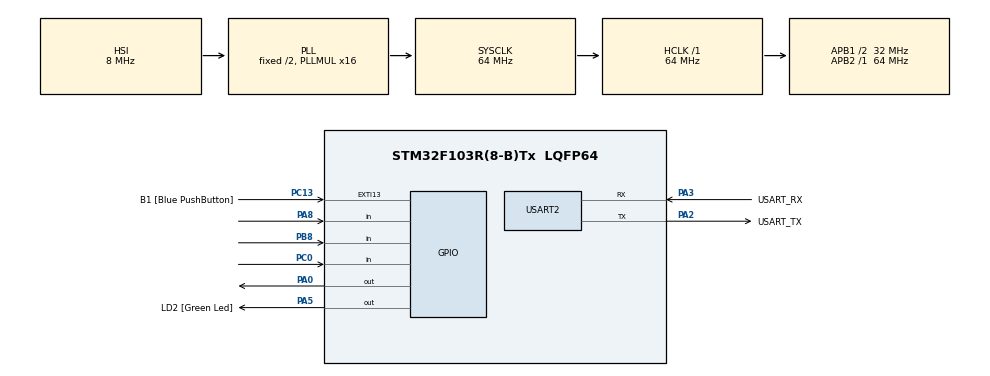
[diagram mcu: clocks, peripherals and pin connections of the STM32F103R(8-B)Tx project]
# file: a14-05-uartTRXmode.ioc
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Mcu.Family=STM32F1
Mcu.Name=STM32F103R(8-B)Tx
Mcu.Package=LQFP64
NVIC.EXTI15_10_IRQn=true\:0\:0\:false\:false\:true\:true\:true
NVIC.PriorityGroup=NVIC_PRIORITYGROUP_4
NVIC.TIM2_IRQn=true\:0\:0\:false\:false\:true\:true\:true
NVIC.TIM3_IRQn=true\:0\:0\:false\:false\:true\:true\:true
PA0-WKUP.Signal=GPIO_Output
PA13.GPIO_Label=TMS
PA13.Mode=Serial_Wire
PA13.Signal=SYS_JTMS-SWDIO
PA14.GPIO_Label=TCK
PA14.Mode=Serial_Wire
PA14.Signal=SYS_JTCK-SWCLK
PA2.GPIO_Label=USART_TX
PA2.GPIO_Mode=GPIO_MODE_AF_PP
PA2.GPIO_PuPd=GPIO_NOPULL
PA2.GPIO_Speed=GPIO_SPEED_FREQ_LOW
PA2.Mode=Asynchronous
PA2.Signal=USART2_TX
PA3.GPIO_Label=USART_RX
PA3.GPIO_Mode=GPIO_MODE_AF_PP
PA3.GPIO_PuPd=GPIO_NOPULL
PA3.GPIO_Speed=GPIO_SPEED_FREQ_LOW
PA3.Mode=Asynchronous
PA3.Signal=USART2_RX
PA5.GPIO_Label=LD2 [Green Led]
PA5.GPIO_ModeDefaultOutputPP=GPIO_MODE_OUTPUT_PP
PA5.GPIO_PuPd=GPIO_NOPULL
PA5.GPIO_Speed=GPIO_SPEED_FREQ_LOW
PA5.Signal=GPIO_Output
PA8.Signal=GPIO_Input
PB3.GPIO_Label=SWO
PB3.Signal=SYS_JTDO-TRACESWO
PB8.Signal=GPIO_Input
PC0.Signal=GPIO_Input
PC13-TAMPER-RTC.GPIO_Label=B1 [Blue PushButton]
PC13-TAMPER-RTC.GPIO_PuPd=GPIO_NOPULL
PC13-TAMPER-RTC.Signal=GPXTI13
PC14-OSC32_IN.Mode=LSE-External-Oscillator
PC14-OSC32_IN.Signal=RCC_OSC32_IN
PC15-OSC32_OUT.Mode=LSE-External-Oscillator
PC15-OSC32_OUT.Signal=RCC_OSC32_OUT
PD0-OSC_IN.Mode=HSE-External-Clock-Source
PD0-OSC_IN.Signal=RCC_OSC_IN
PD1-OSC_OUT.Mode=HSE-External-Clock-Source
PD1-OSC_OUT.Signal=RCC_OSC_OUT
ProjectManager.HeapSize=0x200
ProjectManager.StackSize=0x400
ProjectManager.TargetToolchain=STM32CubeIDE
RCC.AHBFreq_Value=64000000
RCC.APB1CLKDivider=RCC_HCLK_DIV2
RCC.APB1Freq_Value=32000000
RCC.APB1TimFreq_Value=64000000
RCC.APB2Freq_Value=64000000
RCC.APB2TimFreq_Value=64000000
RCC.HCLKFreq_Value=64000000
RCC.PLLMUL=RCC_PLL_MUL16
RCC.RTCClockSelection=RCC_RTCCLKSOURCE_LSE
RCC.SYSCLKFreq_VALUE=64000000
RCC.SYSCLKSource=RCC_SYSCLKSOURCE_PLLCLK
RCC.USBFreq_Value=64000000
TIM2.Period=103
TIM2.Prescaler=63
TIM3.Period=25
TIM3.Prescaler=63
USART2.VirtualMode=VM_ASYNC
VP_TIM2_VS_ClockSourceINT.Mode=Internal
VP_TIM3_VS_ClockSourceINT.Mode=Internal
board=NUCLEO-F103RB

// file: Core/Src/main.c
/* USER CODE BEGIN Header */
/**
  ******************************************************************************
  * @file           : main.c
  * @brief          : Main program body
  ******************************************************************************
  * @attention
  *
  * <h2><center>&copy; Copyright (c) 2022 STMicroelectronics.
  * All rights reserved.</center></h2>
  *
  * This software component is licensed by ST under BSD 3-Clause license,
  * the "License"; You may not use this file except in compliance with the
  * License. You may obtain a copy of the License at:
  *                        opensource.org/licenses/BSD-3-Clause
  *
  ******************************************************************************
  */
/* USER CODE END Header */

#include "main.h"

/* USER CODE BEGIN Includes */
#include "stdio.h"
/* USER CODE END Includes */

/* USER CODE BEGIN PD */

//RX
#ifdef __GNUC__
  /* With GCC/RAISONANCE, small printf (option LD Linker->Libraries->Small printf
     set to 'Yes') calls __io_putchar() */
  #define PUTCHAR_PROTOTYPE int __io_putchar(int ch)
#else
  #define PUTCHAR_PROTOTYPE int fputc(int ch, FILE *f)
#endif /* __GNUC__ */

typedef struct ts_rxType{
	char start;
	unsigned char data;
	char parity;
	char stop;
	char error;
} rxType;
/* USER CODE END PD */

TIM_HandleTypeDef htim2;
TIM_HandleTypeDef htim3;

UART_HandleTypeDef huart2;

/* USER CODE BEGIN PV */

//TX
char Uart_Tx_Parity_Mode;
int tim2_cnt;
char tim2_flag;
char tim2_trigger;
char chUartTxData[32];

//RX
char Uart_Rx_Parity_Mode;
rxType rxData[32];
int rxByte_cnt;
int rxBit_cnt;
int rxBit_value;
int rxSamp_cnt;
int rxParity_bit;
char Uart_Rx_flag;
char Uart_Rx_active;
char Uart_Rx_Temp;
char Uart_Rx_trigger;
char Uart_Rx_data;
char Uart_Rx_parity;
char Uart_Rx_stop;

/* USER CODE END PV */

void SystemClock_Config(void);
static void MX_GPIO_Init(void);
static void MX_USART2_UART_Init(void);
static void MX_TIM2_Init(void);
static void MX_TIM3_Init(void);

/* USER CODE BEGIN 0 */

PUTCHAR_PROTOTYPE
{
  /* Place your implementation of fputc here */
  /* e.g. write a character to the EVAL_COM1 and Loop until the end of transmission */
  HAL_UART_Transmit(&huart2, (uint8_t *)&ch, 1, 0xFFFF);

  return ch;
}

//TX
void Uart_Tx_Byte(char TxData, char Parity)
{
	char chExit = 'n';
	char chComp = 0x01;
	int ParityBit_cnt = 0;

	tim2_cnt = 0;
	tim2_flag = 'y';
	tim2_trigger = 'n';

	while(1){
		if(('y' == tim2_trigger) && (tim2_cnt == 1)){ // idle
			tim2_trigger = 'n';
			HAL_GPIO_WritePin(GPIOA, GPIO_PIN_0, GPIO_PIN_SET);
		}else if(('y' == tim2_trigger) && (tim2_cnt == 2)){ // start
			tim2_trigger = 'n';
			HAL_GPIO_WritePin(GPIOA, GPIO_PIN_0, GPIO_PIN_RESET);
		}else if(('y' == tim2_trigger) && (tim2_cnt == 3)){ // bit 0
			tim2_trigger = 'n';
			if((TxData & chComp) == chComp){
				HAL_GPIO_WritePin(GPIOA, GPIO_PIN_0, GPIO_PIN_SET);
				ParityBit_cnt += 1;
			}else{
				HAL_GPIO_WritePin(GPIOA, GPIO_PIN_0, GPIO_PIN_RESET);
			}
			chComp <<= 1;
		}else if(('y' == tim2_trigger) && (tim2_cnt == 4)){ // bit 1
			tim2_trigger = 'n';
			if((TxData & chComp) == chComp){
				HAL_GPIO_WritePin(GPIOA, GPIO_PIN_0, GPIO_PIN_SET);
				ParityBit_cnt += 1;
			}else{
				HAL_GPIO_WritePin(GPIOA, GPIO_PIN_0, GPIO_PIN_RESET);
			}
			chComp <<= 1;
		}else if(('y' == tim2_trigger) && (tim2_cnt == 5)){ // bit 2
			tim2_trigger = 'n';
			if((TxData & chComp) == chComp){
				HAL_GPIO_WritePin(GPIOA, GPIO_PIN_0, GPIO_PIN_SET);
				ParityBit_cnt += 1;
			}else{
				HAL_GPIO_WritePin(GPIOA, GPIO_PIN_0, GPIO_PIN_RESET);
			}
			chComp <<= 1;
		}else if(('y' == tim2_trigger) && (tim2_cnt == 6)){ // bit 3
			tim2_trigger = 'n';
			if((TxData & chComp) == chComp){
				HAL_GPIO_WritePin(GPIOA, GPIO_PIN_0, GPIO_PIN_SET);
				ParityBit_cnt += 1;
			}else{
				HAL_GPIO_WritePin(GPIOA, GPIO_PIN_0, GPIO_PIN_RESET);
			}
			chComp <<= 1;
		}else if(('y' == tim2_trigger) && (tim2_cnt == 7)){ // bit 4
			tim2_trigger = 'n';
			if((TxData & chComp) == chComp){
				HAL_GPIO_WritePin(GPIOA, GPIO_PIN_0, GPIO_PIN_SET);
				ParityBit_cnt += 1;
			}else{
				HAL_GPIO_WritePin(GPIOA, GPIO_PIN_0, GPIO_PIN_RESET);
			}
			chComp <<= 1;
		}else if(('y' == tim2_trigger) && (tim2_cnt == 8)){ // bit 5
			tim2_trigger = 'n';
			if((TxData & chComp) == chComp){
				HAL_GPIO_WritePin(GPIOA, GPIO_PIN_0, GPIO_PIN_SET);
				ParityBit_cnt += 1;
			}else{
				HAL_GPIO_WritePin(GPIOA, GPIO_PIN_0, GPIO_PIN_RESET);
			}
			chComp <<= 1;
		}else if(('y' == tim2_trigger) && (tim2_cnt == 9)){ // bit 6
			tim2_trigger = 'n';
			if((TxData & chComp) == chComp){
				HAL_GPIO_WritePin(GPIOA, GPIO_PIN_0, GPIO_PIN_SET);
				ParityBit_cnt += 1;
			}else{
				HAL_GPIO_WritePin(GPIOA, GPIO_PIN_0, GPIO_PIN_RESET);
			}
			chComp <<= 1;
		}else if(('y' == tim2_trigger) && (tim2_cnt == 10)){ // bit 7
			tim2_trigger = 'n';
			if((TxData & chComp) == chComp){
				HAL_GPIO_WritePin(GPIOA, GPIO_PIN_0, GPIO_PIN_SET);
				ParityBit_cnt += 1;
			}else{
				HAL_GPIO_WritePin(GPIOA, GPIO_PIN_0, GPIO_PIN_RESET);
			}
			chComp <<= 1;
		}else if(('y' == tim2_trigger) && (tim2_cnt == 11)){ // [parity : none/even/odd] or [stop]
			tim2_trigger = 'n';
			if('n' == Parity){	// stop
				HAL_GPIO_WritePin(GPIOA, GPIO_PIN_0, GPIO_PIN_SET);
				chExit = 'y';
			}else if('e' == Parity){
				if((ParityBit_cnt % 2) == 0){
					HAL_GPIO_WritePin(GPIOA, GPIO_PIN_0, GPIO_PIN_RESET);
				}else{
					HAL_GPIO_WritePin(GPIOA, GPIO_PIN_0, GPIO_PIN_SET);
				}
			}else if('o' == Parity){
				if((ParityBit_cnt % 2) == 0){
					HAL_GPIO_WritePin(GPIOA, GPIO_PIN_0, GPIO_PIN_SET);
				}else{
					HAL_GPIO_WritePin(GPIOA, GPIO_PIN_0, GPIO_PIN_RESET);
				}
			}
		}else if(('y' == tim2_trigger) && (tim2_cnt == 12)){ // stop
			tim2_trigger = 'n';
			HAL_GPIO_WritePin(GPIOA, GPIO_PIN_0, GPIO_PIN_SET);
			chExit = 'y';
		}
		if(('y' == tim2_trigger) && ('y' == chExit)){
			tim2_trigger = 'n';
			tim2_flag = 'n';
			break;
		}
	}
}

int Uart_Tx_multiByte(int Tx_cnt, char* TxData, char Parity)
{
	int m;

	for(m = 0; m < Tx_cnt; m++){
		Uart_Tx_Byte(TxData[m], Parity);
	}

	return(0);
}

//RX
void HAL_TIM_PeriodElapsedCallback(TIM_HandleTypeDef *htim)
{
	if(htim->Instance == htim2.Instance){
			//HAL_GPIO_TogglePin(GPIOA, GPIO_PIN_0);
			if('y' == tim2_flag){
				tim2_cnt += 1;
				tim2_trigger = 'y';
			}
		}
	if(htim->Instance == htim3.Instance){
		if('y' == Uart_Rx_flag){
			if('n' == Uart_Rx_active){
				Uart_Rx_Temp <<= 1;
				if(GPIO_PIN_SET == HAL_GPIO_ReadPin(GPIOC, GPIO_PIN_0)){
					Uart_Rx_Temp += 1;
				}
				if((Uart_Rx_Temp & 0x0f) == 0x0c){
					Uart_Rx_active = 'y';
					Uart_Rx_Temp = 0x00;
					rxByte_cnt += 1;
					rxData[rxByte_cnt].start = 'y';
					rxData[rxByte_cnt].data = 0x00;
					rxData[rxByte_cnt].parity = 'n';
					rxData[rxByte_cnt].stop = 'x';
					rxBit_cnt = 0;
					rxSamp_cnt = 0;
					rxParity_bit = 0;
					Uart_Rx_trigger = 'n';
					Uart_Rx_data = 'n';
					Uart_Rx_parity = 'n';
					Uart_Rx_stop = 'n';
				}
			}else{
				Uart_Rx_trigger = 'n';
				rxSamp_cnt += 1;
				if((rxSamp_cnt % 4) == 0){
					Uart_Rx_trigger = 'y';
					if(GPIO_PIN_SET == HAL_GPIO_ReadPin(GPIOC, GPIO_PIN_0)){
						rxBit_value = 1;
					}else{
						rxBit_value = 0;
					}
					rxBit_cnt += 1;
					if((1 <= rxBit_cnt) && (rxBit_cnt <= 8)){
						Uart_Rx_data = 'y';
					//---
					}else if(9 == rxBit_cnt){
						Uart_Rx_data = 'n';
						if('n' == Uart_Rx_Parity_Mode){
							Uart_Rx_parity = 'n';
							Uart_Rx_stop = 'y';
						}else if('e' == Uart_Rx_Parity_Mode){
							Uart_Rx_parity = 'y';
						}else if('o' == Uart_Rx_Parity_Mode){
							Uart_Rx_parity = 'y';
						}
					}else if(10 == rxBit_cnt){
						Uart_Rx_parity = 'n';
						Uart_Rx_stop = 'y';
					}
					//---
					/*
					else if(9 == rxBit_cnt){
						Uart_Rx_data = 'n';
						Uart_Rx_parity = 'y';

						//----- pairyt bit 異붽? ----------------------

					}else if(10 == rxBit_cnt){
						Uart_Rx_parity = 'n';
						Uart_Rx_stop = 'y';

						//----- stop bit 異붽? ----------------------

					}
					*/
				}
				if(('y' == Uart_Rx_trigger) && ('y' == Uart_Rx_data)){
					rxData[rxByte_cnt].data >>= 1;
					if(1 == rxBit_value){
						rxData[rxByte_cnt].data += 0x80;
						rxParity_bit += 1;
					}
				}
				if(('y' == Uart_Rx_trigger) && ('y' == Uart_Rx_parity)){
					//---
					if('e' == Uart_Rx_Parity_Mode){
						if(((rxParity_bit % 2) == 0) && (0 == rxBit_value)){
							rxData[rxByte_cnt].parity = 'e';
						}else if(((rxParity_bit % 2) == 1) && (1 == rxBit_value)){
							rxData[rxByte_cnt].parity = 'e';
						}else{
							rxData[rxByte_cnt].parity = 'f';
						}
					}else if('o' == Uart_Rx_Parity_Mode){
						if(((rxParity_bit % 2) == 0) && (1 == rxBit_value)){
							rxData[rxByte_cnt].parity = 'o';
						}else if(((rxParity_bit % 2) == 1) && (0 == rxBit_value)){
							rxData[rxByte_cnt].parity = 'o';
						}else{
							rxData[rxByte_cnt].parity = 'f';
						}
					}
					//---

					//----- pairyt bit 異붽? ----------------------

				}
				if(('y' == Uart_Rx_trigger) && ('y' == Uart_Rx_stop)){
					//---
					Uart_Rx_active = 'n';
					if(1 == rxBit_value){
						rxData[rxByte_cnt].stop = 'y';
					}else{
						rxData[rxByte_cnt].stop = 'n';
					}
					//---

					//Uart_Rx_active = 'n';
					//----- stop bit 異붽? ----------------------

				}
			}
		}
	}
}

/* USER CODE END 0 */

int main(void)
{
  /* USER CODE BEGIN 1 */

	//RX
	HAL_StatusTypeDef tim2_it_start;
	HAL_StatusTypeDef tim3_it_start;
		GPIO_PinState pc13pin;
		GPIO_PinState pa8pin, pb8pin;
		int m;

  /* USER CODE END 1 */

  /* MCU Configuration--------------------------------------------------------*/

  /* Reset of all peripherals, Initializes the Flash interface and the Systick. */
  HAL_Init();

  /* Configure the system clock */
  SystemClock_Config();

  /* Initialize all configured peripherals */
  MX_GPIO_Init();
  MX_USART2_UART_Init();
  MX_TIM2_Init();
  MX_TIM3_Init();
  /* USER CODE BEGIN 2 */

  //TX
  printf("---uart tx mode\r\n---");

   Uart_Tx_Parity_Mode = 'n'; // 'n':none, 'e':even, 'o':odd
   tim2_cnt = 0;
   tim2_flag = 'n';
   tim2_trigger = 'n';

   HAL_GPIO_WritePin(GPIOA, GPIO_PIN_0, GPIO_PIN_SET); // tx idle : high

   tim2_it_start = HAL_TIM_Base_Start_IT(&htim2);
   if(HAL_OK == tim2_it_start){
 	  printf("HAL_TIM_Base_Start_IT OK\r\n");
   }else{
 	  printf("HAL_TIM_Base_Start_IT error\r\n");
   }

   chUartTxData[0] = 'a';

  //RX
  printf("---uart rx mode\r\n---");

    //-----parameter initial-----
    Uart_Rx_Parity_Mode = 'n'; // 'n':none, 'e':even, 'o':odd
    rxByte_cnt = 0;
    rxBit_cnt = 0;
    rxSamp_cnt = 0;
    Uart_Rx_flag = 'n';
    Uart_Rx_active = 'n';
    Uart_Rx_Temp = 0x00;

    tim3_it_start = HAL_TIM_Base_Start_IT(&htim3);
    if(HAL_OK == tim3_it_start){
  	  printf("HAL_TIM_Base_Start_IT OK\r\n");
    }else{
  	  printf("HAL_TIM_Base_Start_IT error\r\n");
    }

    //-----uart rx mode : start-----
    Uart_Rx_flag = 'y';
    Uart_Rx_active = 'n';

  /* USER CODE END 2 */

  /* Infinite loop */
  while (1)
  {

    /* USER CODE BEGIN 3 */

	  //----- parity mode ------------------------------------------------------------------------------
	  pa8pin = HAL_GPIO_ReadPin(GPIOA, GPIO_PIN_8);
	  pb8pin = HAL_GPIO_ReadPin(GPIOB, GPIO_PIN_8);
	  if((GPIO_PIN_SET == pa8pin) && (GPIO_PIN_RESET == pb8pin)){
		  Uart_Tx_Parity_Mode = 'e';
		  Uart_Rx_Parity_Mode = 'e';
	  }else if((GPIO_PIN_RESET == pa8pin) && (GPIO_PIN_SET == pb8pin)){
		  Uart_Tx_Parity_Mode = 'o';
		  Uart_Rx_Parity_Mode = 'o';
	  }else{
		  Uart_Tx_Parity_Mode = 'n';
		  Uart_Rx_Parity_Mode = 'n';
	  }
	  //----- parity mode ------------------------------------------------------------------------------

	  //----- uart tx mode ------------------------------------------------------------------------------

	  //----- one byte -----
	  pc13pin = HAL_GPIO_ReadPin(GPIOC, GPIO_PIN_13);
	  if(GPIO_PIN_RESET == pc13pin){
		  Uart_Tx_Byte(chUartTxData[0], Uart_Tx_Parity_Mode);
		  printf("-a14-Uart_Tx_Byte=%c[0x%02x]---parity=%c---\r\n",chUartTxData[0],chUartTxData[0],Uart_Tx_Parity_Mode);
		  if('z' == chUartTxData[0]){
			  chUartTxData[0] = 'a';
		  }else{
			  chUartTxData[0] += 1;
		  }
	  }
	  //----- one byte -----

	  /*
	  //----- multi byte -----
	  pc13pin = HAL_GPIO_ReadPin(GPIOC, GPIO_PIN_13);
	  if(GPIO_PIN_RESET == pc13pin){
		  //chUartTxData[0]
		  chUartTxData[1] = (chUartTxData[0] + 1);
		  chUartTxData[2] = (chUartTxData[1] + 1);
		  chUartTxData[3] = (chUartTxData[2] + 1);
		  chUartTxData[4] = (chUartTxData[3] + 1);
		  Uart_Tx_multiByte(5, chUartTxData, 'n'); // 'n':none, 'e':even, 'o':odd
		  printf("Uart_Tx_Byte=%c[0x%02x]---parity=%c---\r\n",chUartTxData[0],chUartTxData[0],Uart_Tx_Parity_Mode);
		  printf("Uart_Tx_Byte=%c[0x%02x]---parity=%c---\r\n",chUartTxData[1],chUartTxData[1],Uart_Tx_Parity_Mode);
		  printf("Uart_Tx_Byte=%c[0x%02x]---parity=%c---\r\n",chUartTxData[2],chUartTxData[2],Uart_Tx_Parity_Mode);
		  printf("Uart_Tx_Byte=%c[0x%02x]---parity=%c---\r\n",chUartTxData[3],chUartTxData[3],Uart_Tx_Parity_Mode);
		  printf("Uart_Tx_Byte=%c[0x%02x]---parity=%c---\r\n",chUartTxData[4],chUartTxData[4],Uart_Tx_Parity_Mode);
		  if('z' == chUartTxData[0]){
			  chUartTxData[0] = 'a';
		  }else{
			  chUartTxData[0] += 1;
		  }
		  HAL_Delay(500);
	  }
	  //----- multi byte -----
	  */

	  //----- uart tx mode ------------------------------------------------------------------------------

	  //----- uart rx mode ------------------------------------------------------------------------------
	  if(('n' == Uart_Rx_active) && (1 <= rxByte_cnt)){
		  for(m = 1; m <= rxByte_cnt; m++){
			  printf("-a14----rx:%c---data[%d]=0x%02x,parity=%c,stop=%c\r\n",Uart_Rx_Parity_Mode,m,rxData[m].data,rxData[m].parity,rxData[m].stop);
		  }
		  rxByte_cnt = 0;
	  }
	  //----- uart rx mode ------------------------------------------------------------------------------

	  HAL_Delay(50);
	  HAL_GPIO_TogglePin(GPIOA, GPIO_PIN_5);

  }
  /* USER CODE END 3 */
}

void SystemClock_Config(void)
{
  RCC_OscInitTypeDef RCC_OscInitStruct = {0};
  RCC_ClkInitTypeDef RCC_ClkInitStruct = {0};

  /** Initializes the CPU, AHB and APB busses clocks
  */
  RCC_OscInitStruct.OscillatorType = RCC_OSCILLATORTYPE_HSI;
  RCC_OscInitStruct.HSIState = RCC_HSI_ON;
  RCC_OscInitStruct.HSICalibrationValue = RCC_HSICALIBRATION_DEFAULT;
  RCC_OscInitStruct.PLL.PLLState = RCC_PLL_ON;
  RCC_OscInitStruct.PLL.PLLSource = RCC_PLLSOURCE_HSI_DIV2;
  RCC_OscInitStruct.PLL.PLLMUL = RCC_PLL_MUL16;
  if (HAL_RCC_OscConfig(&RCC_OscInitStruct) != HAL_OK)
  {
    Error_Handler();
  }
  /** Initializes the CPU, AHB and APB busses clocks
  */
  RCC_ClkInitStruct.ClockType = RCC_CLOCKTYPE_HCLK|RCC_CLOCKTYPE_SYSCLK
                              |RCC_CLOCKTYPE_PCLK1|RCC_CLOCKTYPE_PCLK2;
  RCC_ClkInitStruct.SYSCLKSource = RCC_SYSCLKSOURCE_PLLCLK;
  RCC_ClkInitStruct.AHBCLKDivider = RCC_SYSCLK_DIV1;
  RCC_ClkInitStruct.APB1CLKDivider = RCC_HCLK_DIV2;
  RCC_ClkInitStruct.APB2CLKDivider = RCC_HCLK_DIV1;

  if (HAL_RCC_ClockConfig(&RCC_ClkInitStruct, FLASH_LATENCY_2) != HAL_OK)
  {
    Error_Handler();
  }
}

static void MX_TIM2_Init(void)
{

  TIM_ClockConfigTypeDef sClockSourceConfig = {0};
  TIM_MasterConfigTypeDef sMasterConfig = {0};

  htim2.Instance = TIM2;
  htim2.Init.Prescaler = 63;
  htim2.Init.CounterMode = TIM_COUNTERMODE_UP;
  htim2.Init.Period = 103;
  htim2.Init.ClockDivision = TIM_CLOCKDIVISION_DIV1;
  htim2.Init.AutoReloadPreload = TIM_AUTORELOAD_PRELOAD_DISABLE;
  if (HAL_TIM_Base_Init(&htim2) != HAL_OK)
  {
    Error_Handler();
  }
  sClockSourceConfig.ClockSource = TIM_CLOCKSOURCE_INTERNAL;
  if (HAL_TIM_ConfigClockSource(&htim2, &sClockSourceConfig) != HAL_OK)
  {
    Error_Handler();
  }
  sMasterConfig.MasterOutputTrigger = TIM_TRGO_RESET;
  sMasterConfig.MasterSlaveMode = TIM_MASTERSLAVEMODE_DISABLE;
  if (HAL_TIMEx_MasterConfigSynchronization(&htim2, &sMasterConfig) != HAL_OK)
  {
    Error_Handler();
  }

}

static void MX_TIM3_Init(void)
{

  TIM_ClockConfigTypeDef sClockSourceConfig = {0};
  TIM_MasterConfigTypeDef sMasterConfig = {0};

  htim3.Instance = TIM3;
  htim3.Init.Prescaler = 63;
  htim3.Init.CounterMode = TIM_COUNTERMODE_UP;
  htim3.Init.Period = 25;
  htim3.Init.ClockDivision = TIM_CLOCKDIVISION_DIV1;
  htim3.Init.AutoReloadPreload = TIM_AUTORELOAD_PRELOAD_DISABLE;
  if (HAL_TIM_Base_Init(&htim3) != HAL_OK)
  {
    Error_Handler();
  }
  sClockSourceConfig.ClockSource = TIM_CLOCKSOURCE_INTERNAL;
  if (HAL_TIM_ConfigClockSource(&htim3, &sClockSourceConfig) != HAL_OK)
  {
    Error_Handler();
  }
  sMasterConfig.MasterOutputTrigger = TIM_TRGO_RESET;
  sMasterConfig.MasterSlaveMode = TIM_MASTERSLAVEMODE_DISABLE;
  if (HAL_TIMEx_MasterConfigSynchronization(&htim3, &sMasterConfig) != HAL_OK)
  {
    Error_Handler();
  }

}

static void MX_USART2_UART_Init(void)
{

  huart2.Instance = USART2;
  huart2.Init.BaudRate = 115200;
  huart2.Init.WordLength = UART_WORDLENGTH_8B;
  huart2.Init.StopBits = UART_STOPBITS_1;
  huart2.Init.Parity = UART_PARITY_NONE;
  huart2.Init.Mode = UART_MODE_TX_RX;
  huart2.Init.HwFlowCtl = UART_HWCONTROL_NONE;
  huart2.Init.OverSampling = UART_OVERSAMPLING_16;
  if (HAL_UART_Init(&huart2) != HAL_OK)
  {
    Error_Handler();
  }

}

static void MX_GPIO_Init(void)
{
  GPIO_InitTypeDef GPIO_InitStruct = {0};

  /* GPIO Ports Clock Enable */
  __HAL_RCC_GPIOC_CLK_ENABLE();
  __HAL_RCC_GPIOD_CLK_ENABLE();
  __HAL_RCC_GPIOA_CLK_ENABLE();
  __HAL_RCC_GPIOB_CLK_ENABLE();

  /*Configure GPIO pin Output Level */
  HAL_GPIO_WritePin(GPIOA, GPIO_PIN_0|LD2_Pin, GPIO_PIN_RESET);

  /*Configure GPIO pin : B1_Pin */
  GPIO_InitStruct.Pin = B1_Pin;
  GPIO_InitStruct.Mode = GPIO_MODE_IT_RISING;
  GPIO_InitStruct.Pull = GPIO_NOPULL;
  HAL_GPIO_Init(B1_GPIO_Port, &GPIO_InitStruct);

  /*Configure GPIO pin : PC0 */
  GPIO_InitStruct.Pin = GPIO_PIN_0;
  GPIO_InitStruct.Mode = GPIO_MODE_INPUT;
  GPIO_InitStruct.Pull = GPIO_NOPULL;
  HAL_GPIO_Init(GPIOC, &GPIO_InitStruct);

  /*Configure GPIO pins : PA0 LD2_Pin */
  GPIO_InitStruct.Pin = GPIO_PIN_0|LD2_Pin;
  GPIO_InitStruct.Mode = GPIO_MODE_OUTPUT_PP;
  GPIO_InitStruct.Pull = GPIO_NOPULL;
  GPIO_InitStruct.Speed = GPIO_SPEED_FREQ_LOW;
  HAL_GPIO_Init(GPIOA, &GPIO_InitStruct);

  /*Configure GPIO pin : PA8 */
  GPIO_InitStruct.Pin = GPIO_PIN_8;
  GPIO_InitStruct.Mode = GPIO_MODE_INPUT;
  GPIO_InitStruct.Pull = GPIO_NOPULL;
  HAL_GPIO_Init(GPIOA, &GPIO_InitStruct);

  /*Configure GPIO pin : PB8 */
  GPIO_InitStruct.Pin = GPIO_PIN_8;
  GPIO_InitStruct.Mode = GPIO_MODE_INPUT;
  GPIO_InitStruct.Pull = GPIO_NOPULL;
  HAL_GPIO_Init(GPIOB, &GPIO_InitStruct);

  /* EXTI interrupt init*/
  HAL_NVIC_SetPriority(EXTI15_10_IRQn, 0, 0);
  HAL_NVIC_EnableIRQ(EXTI15_10_IRQn);

}

void Error_Handler(void)
{
}

/************************ (C) COPYRIGHT STMicroelectronics *****END OF FILE****/
